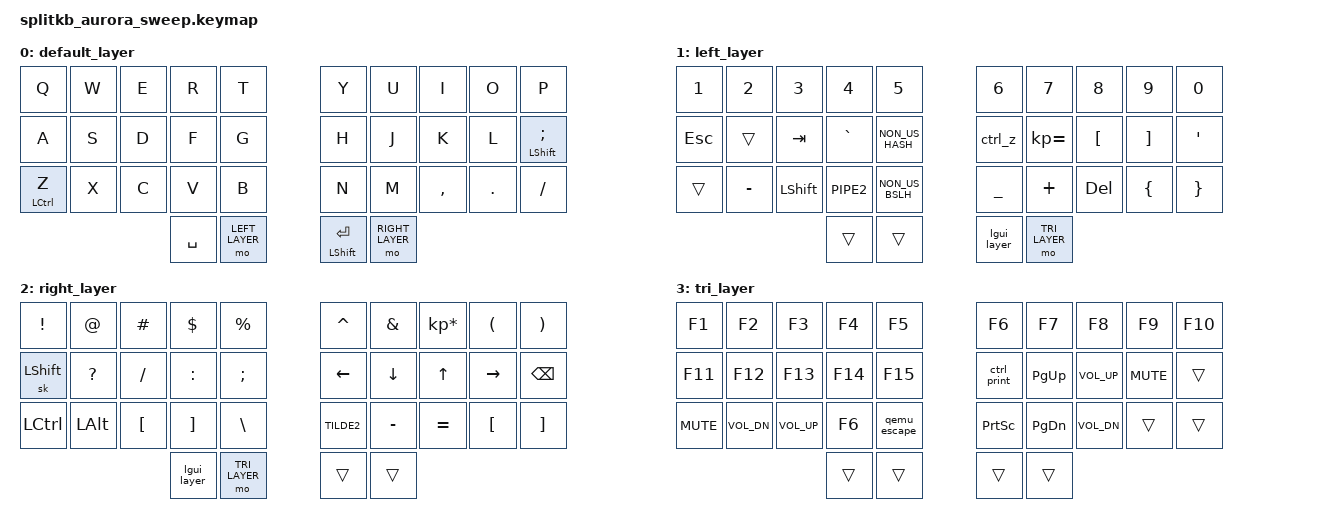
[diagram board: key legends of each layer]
/*
 * Copyright (c) 2022 The ZMK Contributors
 *
 * SPDX-License-Identifier: MIT
 */

#include <behaviors.dtsi>
#include <dt-bindings/zmk/keys.h>
#include <dt-bindings/zmk/bt.h>

#define DEFAULT_LAYER 0
#define LEFT_LAYER 1
#define RIGHT_LAYER 2
#define TRI_LAYER 3


&mt {
   // flavor = "tap-preferred";
   // tapping-term-ms = <200>;
};

/ {
    macros {
        ctrl_print: ctrl_print {
            compatible = "zmk,behavior-macro";
            #binding-cells = <0>;
            bindings
                = <&macro_press &kp LCTRL>
                , <&macro_tap &kp PSCRN>
                , <&macro_release &kp LCTRL>
                ;
        };
        ctrl_z: ctrl_z {
            compatible = "zmk,behavior-macro";
            #binding-cells = <0>;
            bindings
                = <&macro_press &kp LCTRL>
                , <&macro_tap &kp Z>
                , <&macro_release &kp LCTRL>
                ;
        };
        qemu_escape: qemu_escape {
            compatible = "zmk,behavior-macro";
            #binding-cells = <0>;
            bindings
                = <&macro_press &kp LCTRL>
                , <&macro_press &kp LALT>
                , <&macro_tap &kp G>
                , <&macro_release &kp LALT>
                , <&macro_release &kp LCTRL>
                ;
        };
        lgui_layer: lgui_layer {
            compatible = "zmk,behavior-macro";
            #binding-cells = <0>;
            bindings
                = <&to DEFAULT_LAYER>
                , <&macro_press &kp LGUI>
                , <&macro_pause_for_release>
                , <&macro_release &kp LGUI>
                ;
        };
    };

        keymap {
                compatible = "zmk,keymap";

            default_layer {
        bindings = <
        &kp Q &kp W &kp E &kp R &kp T                       &kp Y &kp U  &kp I    &kp O   &kp P
        &kp A &kp S &kp D &kp F &kp G                               &kp H &kp J &kp K &kp L &mt LSHFT SEMI
        &mt LCTRL Z &kp X &kp C &kp V &kp B                      &kp N &kp M  &kp COMMA &kp DOT &kp FSLH
                        &kp SPACE &mo LEFT_LAYER                  &mt LSHFT RET &mo RIGHT_LAYER
        >;
        };

            left_layer {
        bindings = <
        &kp N1  &kp N2    &kp N3  &kp N4    &kp N5              &kp N6 &kp N7 &kp N8 &kp N9 &kp N0
        &kp ESC &trans &kp TAB &kp GRAVE &kp NON_US_HASH            &ctrl_z &kp KP_EQUAL  &kp LBKT &kp RBKT  &kp SQT
        &trans  &kp MINUS &kp LSHFT   &kp PIPE2 &kp NON_US_BSLH    &kp UNDER &kp PLUS &kp DEL &kp LBRC &kp RBRC
                        &trans  &trans                      &lgui_layer &mo TRI_LAYER
        >;
        };

        right_layer {
        bindings = <
        &kp EXCL  &kp AT &kp HASH  &kp DLLR  &kp PRCNT             &kp CARET  &kp AMPS &kp KP_MULTIPLY &kp LPAR &kp RPAR
        &sk LSHFT  &kp QMARK  &kp FSLH  &kp COLON  &kp SEMI           &kp LEFT &kp DOWN &kp UP  &kp RIGHT   &kp BSPC
        &kp LCTRL  &kp LALT &kp LBKT &kp RBKT   &kp BSLH             &kp TILDE2  &kp MINUS &kp EQUAL &kp LBKT  &kp RBKT
                      &lgui_layer &mo TRI_LAYER                &trans  &trans
        >;
        };

        tri_layer {
        bindings = <
        &kp F1  &kp F2  &kp F3    &kp F4    &kp F5             &kp F6 &kp F7   &kp F8   &kp F9  &kp F10
        &kp F11 &kp F12 &kp F13 &kp F14 &kp F15                          &ctrl_print &kp PG_UP  &kp K_VOL_UP &kp K_MUTE &trans
        &kp K_MUTE  &kp K_VOL_DN &kp K_VOL_UP &kp F6 &qemu_escape                 &kp PSCRN &kp PG_DN  &kp K_VOL_DN  &trans &trans
                     &trans &trans                      &trans &trans
        >;
        };

    };
};
